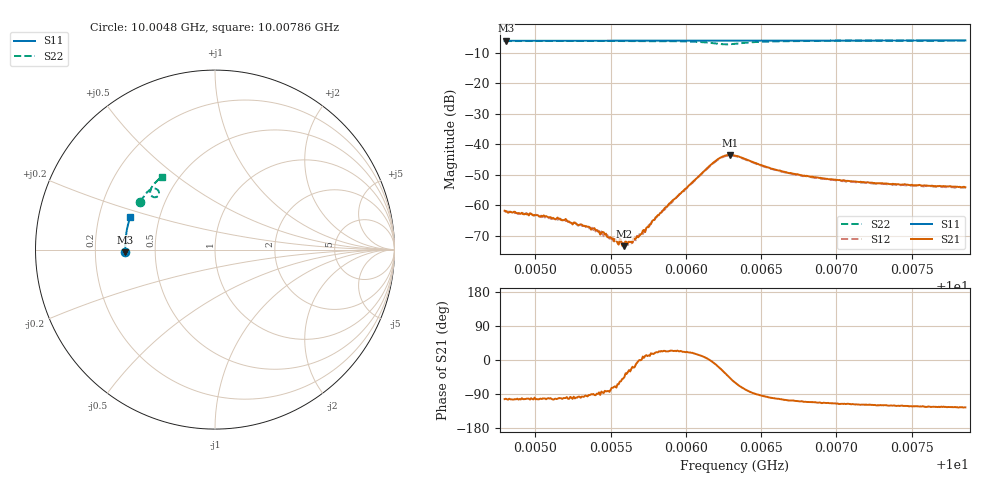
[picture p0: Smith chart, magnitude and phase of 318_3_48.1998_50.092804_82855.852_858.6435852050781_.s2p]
#  HZ  S  RI  R  50.00
! Rohde & Schwarz Vector Network Analyzer
! Rohde-Schwarz,ZNB20-2Port,1311601062101988,3.16
! Created: UTC 3/20/2024, 11:50:17 AM
! freq[Hz]  re:S11  im:S11  re:S21  im:S21  re:S12  im:S12  re:S22  im:S22
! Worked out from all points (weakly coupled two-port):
!   401 points, 10.0048 GHz to 10.00786 GHz, reference 50 ohm
!   highest |S21| = -43.55 dB at 10.0063 GHz (marker M1); lowest = -73.5 dB at 10.00559 GHz (marker M2)
!   lowest |S11| = -6.0 dB at 10.0048 GHz (marker M3), VSWR 2.99, Z = 16.7 - j0.666 ohm
!   |S11| at or under -10 dB: nowhere
!   |S22| runs from -7.2 to -6.0 dB; largest |S21 - S12| = 0.00041
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1.0004795e10  -0.499 -0.0154  -0.000184 -0.000788  -0.000145 -0.00075  -0.4163 0.2658
1.0004803e10  -0.499 -0.015  -0.000169 -0.00078  -0.00014 -0.000773  -0.416 0.2663
1.0005071e10  -0.4997 0.00254  -0.000154 -0.000639  -0.000106 -0.000635  -0.4065 0.2821
1.0005193e10  -0.5 0.0104  -0.000103 -0.000559  -6.34e-05 -0.000568  -0.4016 0.2894
1.0005308e10  -0.4998 0.0179  -5.47e-05 -0.000474  -4.45e-05 -0.000451  -0.397 0.2962
1.0005377e10  -0.4999 0.0224  -7.07e-06 -0.000411  -7.9e-07 -0.000425  -0.3939 0.3003
1.0005454e10  -0.4998 0.0272  1.81e-05 -0.000357  4.92e-05 -0.000304  -0.3905 0.305
1.0005538e10  -0.4997 0.0328  7.69e-05 -0.000249  0.000111 -0.000226  -0.3864 0.3102
1.0005591e10  -0.4996 0.0361  0.00015 -0.000149  0.000142 -0.000162  -0.3834 0.3136
1.000563e10  -0.4995 0.0387  0.000212 -0.000124  0.000218 -0.000102  -0.3815 0.316
1.0005653e10  -0.4992 0.0401  0.000269 -9.86e-05  0.000263 -5.75e-05  -0.3803 0.3174
1.0005744e10  -0.4989 0.0461  0.000429 7.89e-05  0.000419 0.000104  -0.3745 0.3233
1.0005821e10  -0.4986 0.0511  0.000635 0.000268  0.000622 0.000281  -0.3691 0.3283
1.0006173e10  -0.4961 0.0738  0.00473 -0.000333  0.00464 -0.000135  -0.3174 0.3304
1.0006242e10  -0.4955 0.078  0.00553 -0.00288  0.00555 -0.00254  -0.3127 0.3079
1.0006295e10  -0.495 0.0812  0.0044 -0.00498  0.00459 -0.00467  -0.3261 0.2933
1.0006326e10  -0.4948 0.0831  0.0033 -0.00557  0.00355 -0.0053  -0.3367 0.2913
1.0006579e10  -0.4929 0.0992  -0.000732 -0.00384  -0.000523 -0.00383  -0.36 0.329
1.0006839e10  -0.4899 0.1159  -0.00106 -0.00273  -0.00092 -0.00268  -0.349 0.3528
1.0007053e10  -0.4869 0.1292  -0.00109 -0.0023  -0.000955 -0.0023  -0.3385 0.3664
1.0007352e10  -0.4822 0.1478  -0.00112 -0.00191  -0.00101 -0.00195  -0.3236 0.3824
1.0007857e10  -0.4727 0.1789  -0.00112 -0.0016  -0.00103 -0.00163  -0.298 0.4057
